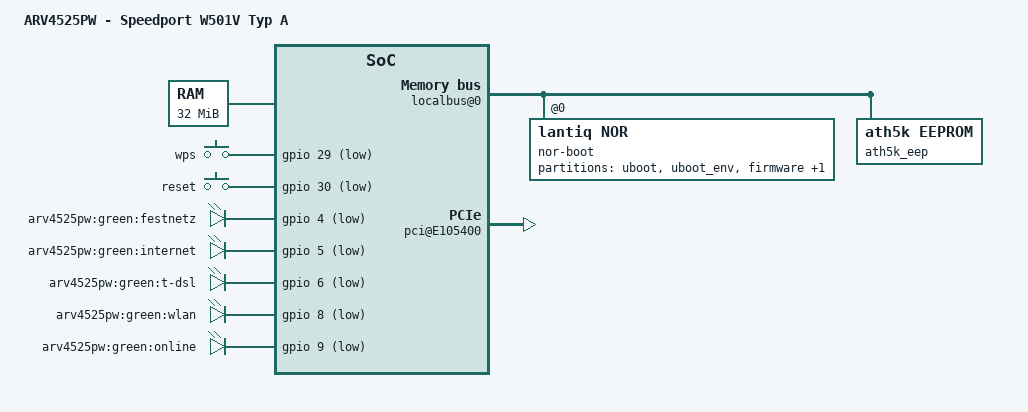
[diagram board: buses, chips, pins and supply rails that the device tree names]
/dts-v1/;

#include "danube.dtsi"

#include <dt-bindings/input/input.h>

/ {
	model = "ARV4525PW - Speedport W501V Typ A";

	chosen {
		bootargs = "console=ttyLTQ0,115200";
	};

	aliases {
		/* we dont have a power led, lets use the online led */
		led-boot = &online;
		led-failsafe = &online;

		led-dsl = &dsl;
		led-internet = &online;
		led-wifi = &wifi;
	};

	memory@0 {
		reg = <0x0 0x2000000>;
	};

	sram@1F000000 {
		vmmc@107000 {
			status = "okay";
			gpios = <&gpio 31 GPIO_ACTIVE_HIGH>;
		};
	};

	fpi@10000000 {
		localbus@0 {
			nor-boot@0 {
				compatible = "lantiq,nor";
				bank-width = <2>;
				reg = <0 0x0 0x2000000>;
				#address-cells = <1>;
				#size-cells = <1>;

				partitions {
					compatible = "fixed-partitions";
					#address-cells = <1>;
					#size-cells = <1>;

					partition@0 {
						label = "uboot";
						reg = <0x00000 0x10000>;
						read-only;
					};

					partition@10000 {
						label = "uboot_env";
						reg = <0x10000 0x10000>;
						read-only;
					};

					partition@20000 {
						label = "firmware";
						reg = <0x20000 0x3d0000>;
					};

					boardconfig: partition@400000 {
						label = "boardconfig";
						reg = <0x3f0000 0x10000>;
						read-only;
					};
				};
			};

			ath5k_eep {
				compatible = "ath5k,eeprom";
				ath,eep-flash = <&boardconfig 0x400>;
				ath,mac-offset = <0x0>;
				ath,eep-swap;
			};
		};

		gpio: pinmux@E100B10 {
			pinctrl-names = "default";
			pinctrl-0 = <&state_default>;

			state_default: pinmux {
				pci_in {
					lantiq,groups = "req1";
					lantiq,function = "pci";
					lantiq,open-drain = <1>;
					lantiq,pull = <2>;
					lantiq,output = <0>;
				};
				pci_out {
					lantiq,groups = "gnt1";
					lantiq,function = "pci";
					lantiq,output = <1>;
				};
				pci_rst {
					lantiq,pins = "io21";
					lantiq,pull = <2>;
					lantiq,output = <1>;
				};
				relay {
					lantiq,pins = "io31";
					lantiq,output = <1>;
				};
			};
		};

		etop@E180000 {
			phy-mode = "mii";
			mtd-mac-address = <&boardconfig 0x16>;
		};

		pci@E105400 {
			status = "okay";
			gpio-reset = <&gpio 21 GPIO_ACTIVE_HIGH>;
		};
	};

/*
#define ARV4525PW_PHYRESET	13
#define ARV4525PW_RELAY		31
*/

	gpio-keys-polled {
		compatible = "gpio-keys-polled";
		#address-cells = <1>;
		#size-cells = <0>;
		poll-interval = <100>;

		wps {
			label = "wps";
			gpios = <&gpio 29 GPIO_ACTIVE_LOW>;
			linux,code = <KEY_WPS_BUTTON>;
		};
		reset {
			label = "reset";
			gpios = <&gpio 30 GPIO_ACTIVE_LOW>;
			linux,code = <KEY_RESTART>;
		};
	};

	gpio-leds {
		compatible = "gpio-leds";
		fxo {
			label = "arv4525pw:green:festnetz";
			gpios = <&gpio 4 GPIO_ACTIVE_LOW>;
		};
		fxs {
			label = "arv4525pw:green:internet";
			gpios = <&gpio 5 GPIO_ACTIVE_LOW>;
		};
		dsl: dsl {
			label = "arv4525pw:green:t-dsl";
			gpios = <&gpio 6 GPIO_ACTIVE_LOW>;
		};
		wifi: wifi {
			label = "arv4525pw:green:wlan";
			gpios = <&gpio 8 GPIO_ACTIVE_LOW>;
		};
		online: online {
			label = "arv4525pw:green:online";
			gpios = <&gpio 9 GPIO_ACTIVE_LOW>;
		};
	};
};
